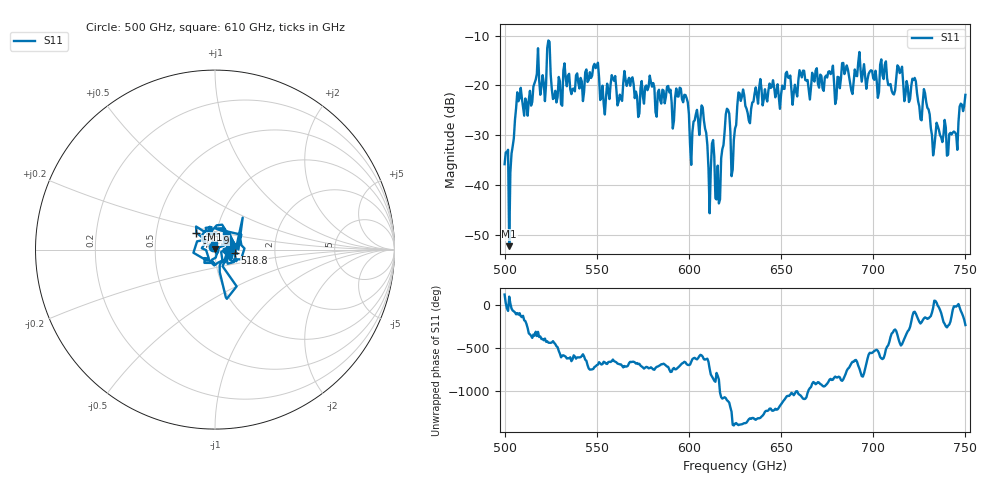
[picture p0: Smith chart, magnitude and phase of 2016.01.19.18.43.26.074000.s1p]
!Created with skrf (http://scikit-rf.org).
# GHz S RI R 50.0
!freq ReS11 ImS11
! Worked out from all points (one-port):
!   401 points, 500 GHz to 750 GHz, reference 50 ohm
!   lowest |S11| = -52.2 dB at 502.5 GHz (marker M1), VSWR 1.00, Z = 50 + j0.243 ohm
!   |S11| at or under -10 dB: start of sweep to end of sweep
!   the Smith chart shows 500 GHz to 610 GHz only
!   S11 on the Smith chart (normalised r, x): 500 GHz: 0.98, +0.03; 518.8 GHz: 1.25, -0.05; 531.9 GHz: 0.80, +0.15; 610 GHz: 0.99, +0.05
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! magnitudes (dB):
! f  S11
! 500 GHz  -35.8
! 502.5 GHz  -52.2
! 507.5 GHz  -23.2
! 518.8 GHz  -18.9
! 523.8 GHz  -11.0
! 526.9 GHz  -22.5
! 531.2 GHz  -24.1
! 531.9 GHz  -17.0
! 549.4 GHz  -16.5
! 553.1 GHz  -20.1
! 558.8 GHz  -18.6
! 562.5 GHz  -21.9
! 593.8 GHz  -22.2
! 601.9 GHz  -29.4
! 607.5 GHz  -24.4
! 610 GHz  -31.9
! 615.6 GHz  -36.1
! 620.6 GHz  -24.7
! 623.8 GHz  -36.9
! 625 GHz  -28.7
! 628.1 GHz  -23.1
! 632.5 GHz  -27.1
! 656.2 GHz  -23.9
! 687.5 GHz  -19.6
! 714.4 GHz  -17.5
! 718.8 GHz  -20.3
! 741.2 GHz  -29.8
! 750 GHz  -21.9
